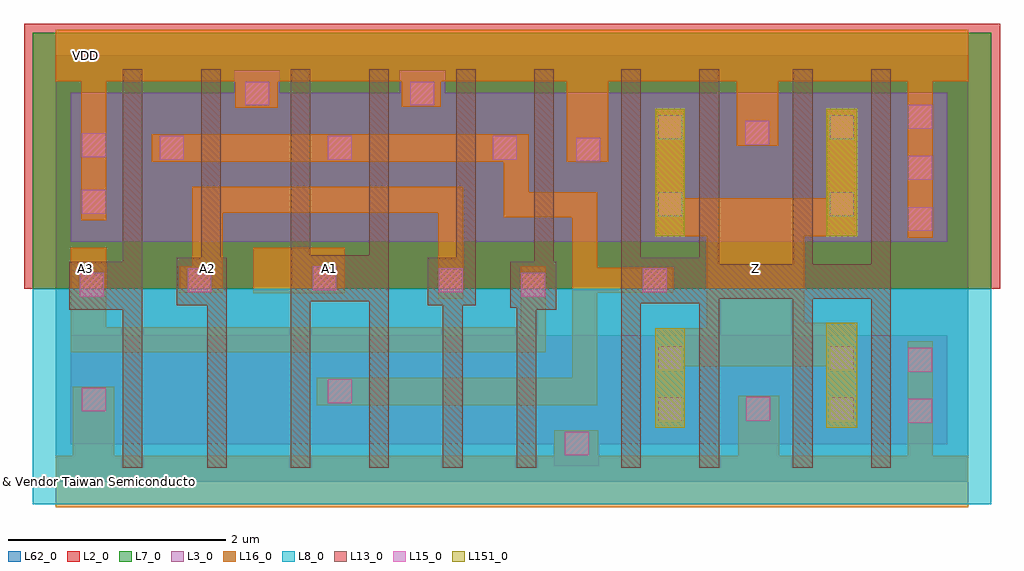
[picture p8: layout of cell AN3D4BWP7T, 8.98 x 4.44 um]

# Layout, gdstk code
import gdstk
lib = gdstk.Library(unit=1e-6, precision=1e-09)
def R(c, l, rs):  # rectangles x0, y0, x1, y1
    for r in rs: c.add(gdstk.rectangle(r[:2], r[2:], *l))
def A(c, l, x, y, w, h, nx, ny, dx, dy):  # array of equal rectangles
    R(c, l, [(x+i*dx, y+j*dy, x+i*dx+w, y+j*dy+h) for i in range(nx) for j in range(ny)])
def P(c, l, *ps):  # polygons
    for p in ps: c.add(gdstk.Polygon(p, *l))
L2_0 = (2, 0)
L3_0 = (3, 0)
L7_0 = (7, 0)
L8_0 = (8, 0)
L13_0 = (13, 0)
L15_0 = (15, 0)
L16_0 = (16, 0)
L62_0 = (62, 0)
L151_0 = (151, 0)

an3d4bwp7t = lib.new_cell('AN3D4BWP7T')
R(an3d4bwp7t, L2_0, [(-0.29,1.775,8.69,4.21)])
P(an3d4bwp7t, L3_0, [(4.585,0.14),(4.585,0.345),(0.14,0.345),(0.14,1.345),(8.205,1.345),(8.205,0.345),(5.005,0.345),(5.005,0.14)],
  [(0.14,2.205),(0.14,3.575),(1.645,3.575),(1.645,3.78),(2.065,3.78),(2.065,3.575),(3.165,3.575),(3.165,3.78),(3.585,3.78),(3.585,3.575),(8.205,3.575),(8.205,2.205)])
R(an3d4bwp7t, L7_0, [(-0.21,1.775,8.61,4.13)])
R(an3d4bwp7t, L8_0, [(-0.21,-0.21,8.61,1.775)])
P(an3d4bwp7t, L13_0, [(3.565,0.125),(3.565,1.62),(3.425,1.62),(3.425,2.06),(3.685,2.06),(3.685,3.795),(3.865,3.795),(3.865,1.62),(3.745,1.62),(3.745,0.125)],
  [(2.165,0.125),(2.165,3.795),(2.345,3.795),(2.345,2.08),(2.885,2.08),(2.885,3.795),(3.065,3.795),(3.065,0.125),(2.885,0.125),(2.885,1.66),(2.345,1.66),(2.345,0.125)],
  [(1.395,0.125),(1.395,1.62),(1.115,1.62),(1.115,2.06),(1.34,2.06),(1.34,3.795),(1.52,3.795),(1.52,2.06),(1.575,2.06),(1.575,0.125)],
  [(0.62,0.125),(0.62,1.58),(0.125,1.58),(0.125,2.02),(0.62,2.02),(0.62,3.795),(0.8,3.795),(0.8,0.125)],
  [(5.205,0.125),(5.205,3.795),(5.385,3.795),(5.385,2.06),(5.925,2.06),(5.925,3.795),(6.105,3.795),(6.105,2),(6.785,2),(6.785,3.795),(6.965,3.795),(6.965,2),(7.505,2),(7.505,3.795),(7.685,3.795),(7.685,0.125),(7.505,0.125),(7.505,1.68),(6.965,1.68),(6.965,0.125),(6.785,0.125),(6.785,1.68),(6.105,1.68),(6.105,0.125),(5.925,0.125),(5.925,1.64),(5.385,1.64),(5.385,0.125)],
  [(4.245,0.125),(4.245,1.6),(4.185,1.6),(4.185,2.02),(4.405,2.02),(4.405,3.795),(4.585,3.795),(4.585,2.02),(4.605,2.02),(4.605,1.58),(4.425,1.58),(4.425,0.125)])
A(an3d4bwp7t, L15_0, 7.845, 2.305, 0.22, 0.22, 1, 3, 0, 0.47)
R(an3d4bwp7t, L15_0, [(4.685,0.24,4.905,0.46), (7.845,0.54,8.065,0.76), (5.545,0.555,5.765,0.775), (7.125,0.555,7.345,0.775), (6.355,0.56,6.575,0.78), (0.24,0.645,0.46,0.865), (2.505,0.72,2.725,0.94), (7.845,1.01,8.065,1.23), (5.545,1.025,5.765,1.245), (7.125,1.025,7.345,1.245), (0.225,1.7,0.445,1.92), (4.285,1.7,4.505,1.92), (1.215,1.74,1.435,1.96), (3.525,1.74,3.745,1.96), (5.405,1.74,5.625,1.96), (2.365,1.76,2.585,1.98), (5.545,2.44,5.765,2.66), (7.125,2.44,7.345,2.66), (0.24,2.465,0.46,2.685), (4.79,2.945,5.01,3.165), (0.96,2.96,1.18,3.18), (2.505,2.96,2.725,3.18), (4.025,2.96,4.245,3.18), (0.24,2.985,0.46,3.205), (6.345,3.1,6.565,3.32), (5.545,3.15,5.765,3.37), (7.125,3.15,7.345,3.37), (1.745,3.46,1.965,3.68), (3.265,3.46,3.485,3.68)])
R(an3d4bwp7t, L16_0, [(1.82,1.73,2.66,2.15)])
P(an3d4bwp7t, L16_0, [(0,-0.235),(0,0.235),(0.16,0.235),(0.16,0.87),(0.54,0.87),(0.54,0.235),(4.59,0.235),(4.59,0.47),(4.995,0.47),(4.995,0.235),(6.28,0.235),(6.28,0.79),(6.66,0.79),(6.66,0.235),(7.84,0.235),(7.84,1.29),(8.07,1.29),(8.07,0.235),(8.4,0.235),(8.4,-0.235)],
  [(7.84,2.245),(7.84,3.685),(6.65,3.685),(6.65,3.09),(6.27,3.09),(6.27,3.685),(5.085,3.685),(5.085,2.94),(4.705,2.94),(4.705,3.685),(3.545,3.685),(3.545,3.45),(3.185,3.45),(3.185,3.685),(2.045,3.685),(2.045,3.44),(1.655,3.44),(1.655,3.685),(0.465,3.685),(0.465,2.405),(0.235,2.405),(0.235,3.685),(0,3.685),(0,4.155),(8.4,4.155),(8.4,3.685),(8.07,3.685),(8.07,2.245)],
  [(5.52,0.495),(5.52,1.41),(5.99,1.41),(5.99,2.255),(5.52,2.255),(5.52,3.43),(5.79,3.43),(5.79,2.605),(7.09,2.605),(7.09,3.43),(7.375,3.43),(7.375,2.255),(6.89,2.255),(6.89,1.46),(7.375,1.46),(7.375,0.495),(7.09,0.495),(7.09,1.06),(5.79,1.06),(5.79,0.495)],
  [(2.405,0.7),(2.405,0.955),(4.755,0.955),(4.755,2.43),(4.125,2.43),(4.125,2.94),(0.885,2.94),(0.885,3.195),(4.355,3.195),(4.355,2.66),(4.985,2.66),(4.985,1.965),(5.685,1.965),(5.685,1.735),(4.985,1.735),(4.985,0.7)],
  [(3.52,1.68),(3.52,2.475),(1.54,2.475),(1.54,1.735),(1.145,1.735),(1.145,1.98),(1.26,1.98),(1.26,2.71),(3.75,2.71),(3.75,1.68)],
  [(0.14,1.19),(0.14,2.15),(0.465,2.15),(0.465,1.42),(4.28,1.42),(4.28,1.98),(4.51,1.98),(4.51,1.19)])
R(an3d4bwp7t, L62_0, [(0,0,8.4,3.92)])
R(an3d4bwp7t, L151_0, [(5.52,0.495,5.79,1.41), (7.09,0.495,7.375,1.46), (5.52,2.255,5.79,3.43), (7.09,2.255,7.375,3.43)])
an3d4bwp7t.add(gdstk.Label('& Vendor Taiwan Semiconductor Manufacturing Corp.', (0,0), layer=63, texttype=63))
an3d4bwp7t.add(gdstk.Label('& Product tcb018gbwp7t', (0,0), layer=63, texttype=63))
an3d4bwp7t.add(gdstk.Label('& Version 270a', (0,0), layer=63, texttype=63))
an3d4bwp7t.add(gdstk.Label('& Metric 32.928', (0,0), layer=63, texttype=63))
an3d4bwp7t.add(gdstk.Label('& Distributor TSMC', (0,0), layer=63, texttype=63))
an3d4bwp7t.add(gdstk.Label('& SerialNumber 000000', (0,0), layer=63, texttype=63))
an3d4bwp7t.add(gdstk.Label('& _Instance_tag AN3D4BWP7T', (0,0), layer=63, texttype=63))
an3d4bwp7t.add(gdstk.Label('& Vendor Taiwan Semiconductor Manufacturing Corp.', (0,0), layer=11, texttype=0))
an3d4bwp7t.add(gdstk.Label('& Product tcb018gbwp7t', (0,0), layer=11, texttype=0))
an3d4bwp7t.add(gdstk.Label('& Version 270a', (0,0), layer=11, texttype=0))
an3d4bwp7t.add(gdstk.Label('& Metric 32.928', (0,0), layer=11, texttype=0))
an3d4bwp7t.add(gdstk.Label('& Distributor TSMC', (0,0), layer=11, texttype=0))
an3d4bwp7t.add(gdstk.Label('& SerialNumber 000000', (0,0), layer=11, texttype=0))
an3d4bwp7t.add(gdstk.Label('& _Instance_tag AN3D4BWP7T', (0,0), layer=11, texttype=0))
an3d4bwp7t.add(gdstk.Label('AN3D4BWP7T', (0,0), layer=59, texttype=0))
an3d4bwp7t.add(gdstk.Label('VSS', (0.28,0), layer=40, texttype=0))
an3d4bwp7t.add(gdstk.Label('VDD', (0.28,3.92), layer=40, texttype=0))
an3d4bwp7t.add(gdstk.Label('A1', (2.52,1.96), layer=40, texttype=0))
an3d4bwp7t.add(gdstk.Label('A2', (1.4,1.96), layer=40, texttype=0))
an3d4bwp7t.add(gdstk.Label('A3', (0.28,1.96), layer=40, texttype=0))
an3d4bwp7t.add(gdstk.Label('Z', (6.44,1.96), layer=40, texttype=0))

lib.write_gds('AN3D4BWP7T.gds')
